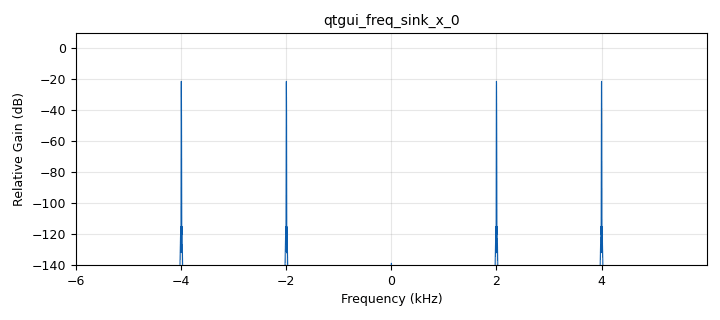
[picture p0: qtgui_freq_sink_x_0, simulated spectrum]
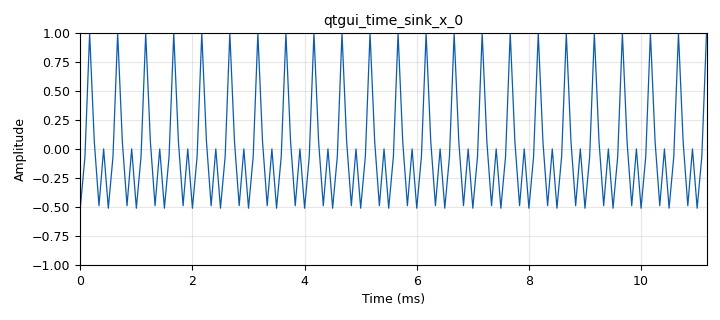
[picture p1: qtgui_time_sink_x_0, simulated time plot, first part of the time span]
options:
  parameters:
    author: ANDRES FLOREZ TARAZONA
    generate_options: qt_gui
    id: Practica1_parte3
    output_language: python
    title: Diezmado e Interpolado
  states: {}

blocks:
- name: samp_rate
  id: variable
  parameters:
    value: '12000'
  states: {}
- name: analog_sig_source_x_0
  id: analog_sig_source_x
  parameters:
    amp: '1'
    freq: '6000'
    offset: '0'
    phase: '0'
    samp_rate: samp_rate
    type: float
    waveform: analog.GR_COS_WAVE
  states: {}
- name: analog_sig_source_x_1
  id: analog_sig_source_x
  parameters:
    amp: '1'
    freq: '5000'
    offset: '0'
    phase: '0'
    samp_rate: samp_rate
    type: float
    waveform: analog.GR_COS_WAVE
  states: {}
- name: analog_sig_source_x_2
  id: analog_sig_source_x
  parameters:
    amp: '1'
    freq: '15000'
    offset: '0'
    phase: '0'
    samp_rate: samp_rate
    type: float
    waveform: analog.GR_COS_WAVE
  states: {}
- name: blocks_multiply_xx_0
  id: blocks_multiply_xx
  parameters:
    num_inputs: '3'
    type: float
  states: {}
- name: qtgui_freq_sink_x_0
  id: qtgui_freq_sink_x
  parameters:
    bw: samp_rate
    fc: '0'
    fftsize: '8192'
    type: float
    wintype: firdes.WIN_BLACKMAN_hARRIS
  states: {}
- name: qtgui_time_sink_x_0
  id: qtgui_time_sink_x
  parameters:
    size: '1024'
    srate: samp_rate
    type: float
  states: {}

connections:
- [analog_sig_source_x_0, '0', blocks_multiply_xx_0, '0']
- [analog_sig_source_x_1, '0', blocks_multiply_xx_0, '1']
- [analog_sig_source_x_2, '0', blocks_multiply_xx_0, '2']
- [blocks_multiply_xx_0, '0', qtgui_freq_sink_x_0, '0']
- [blocks_multiply_xx_0, '0', qtgui_time_sink_x_0, '0']

metadata:
  file_format: 1
